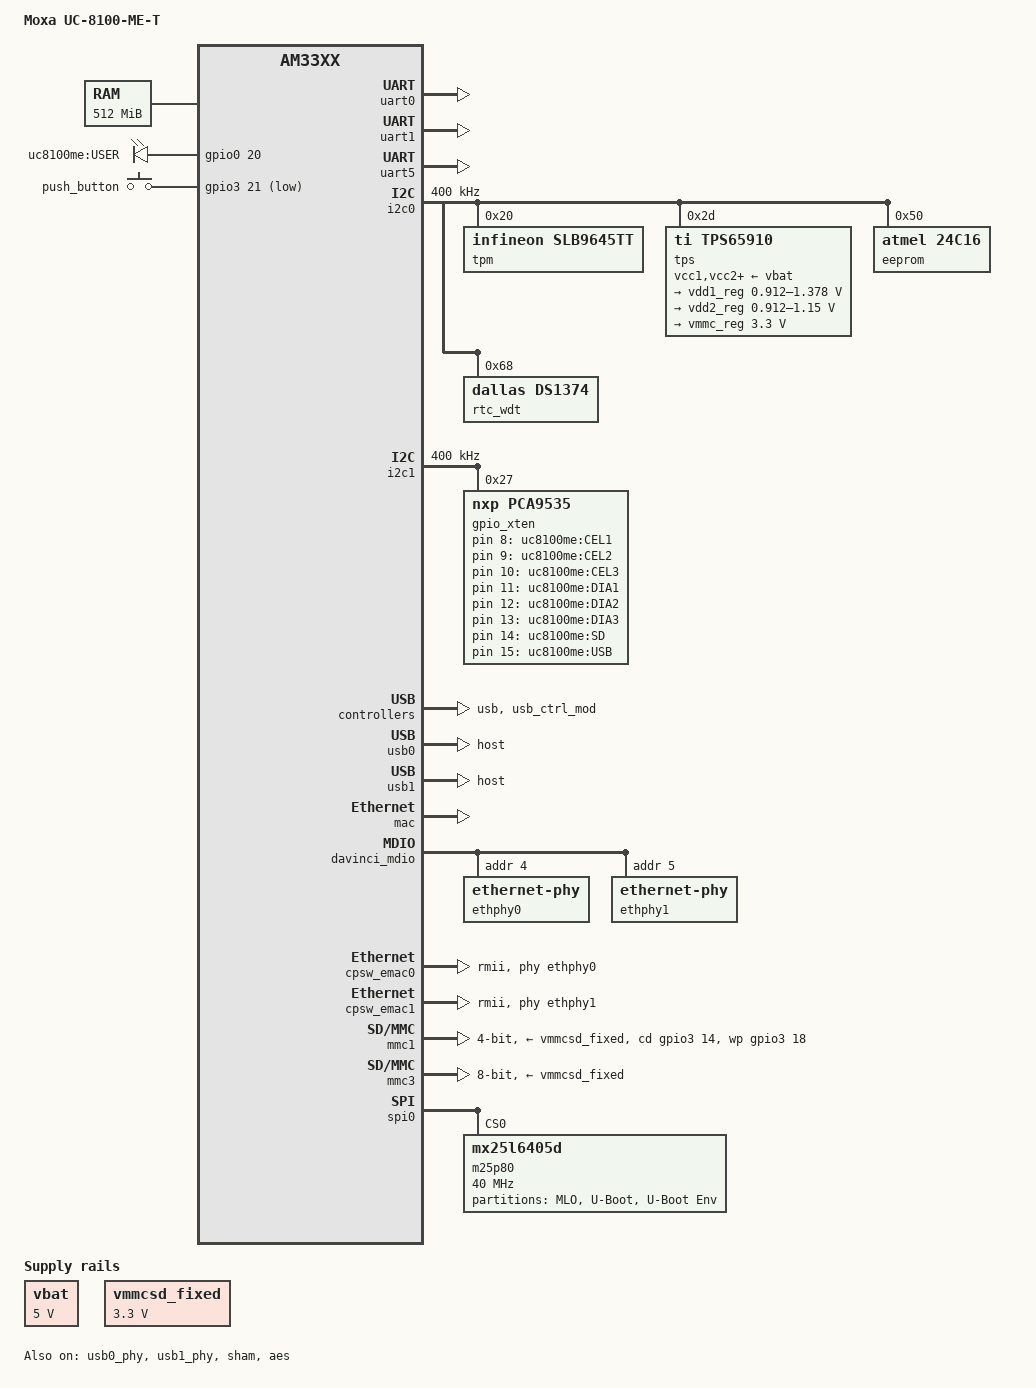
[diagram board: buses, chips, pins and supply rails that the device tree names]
/*
 * Copyright (C) 2017 MOXA Inc. - https://www.moxa.com/
 *
 * Author: SZ Lin (林上智) <sz.lin@moxa.com>
 *
 * This program is free software; you can redistribute it and/or modify
 * it under the terms of the GNU General Public License version 2 as
 * published by the Free Software Foundation.
 */

/dts-v1/;

#include "am33xx.dtsi"

/ {
	model = "Moxa UC-8100-ME-T";
	compatible = "moxa,uc-8100-me-t", "ti,am33xx";

	cpus {
		cpu@0 {
			cpu0-supply = <&vdd1_reg>;
		};
	};

	memory {
		device_type = "memory";
		reg = <0x80000000 0x20000000>; /* 512 MB */
	};

	vbat: vbat-regulator {
		compatible = "regulator-fixed";
	};

	/* Power supply provides a fixed 3.3V @3A */
	vmmcsd_fixed: vmmcsd-regulator {
	      compatible = "regulator-fixed";
	      regulator-name = "vmmcsd_fixed";
	      regulator-min-microvolt = <3300000>;
	      regulator-max-microvolt = <3300000>;
	      regulator-boot-on;
	};

	leds {
		compatible = "gpio-leds";
		led1 {
			label = "uc8100me:CEL1";
			gpios = <&gpio_xten 8 0>;
			default-state = "off";
		};

		led2 {
			label = "uc8100me:CEL2";
			gpios = <&gpio_xten 9 0>;
			default-state = "off";
		};

		led3 {
			label = "uc8100me:CEL3";
			gpios = <&gpio_xten 10 0>;
			default-state = "off";
		};

		led4 {
			label = "uc8100me:DIA1";
			gpios = <&gpio_xten 11 0>;
			default-state = "off";
		};
		led5 {
			label = "uc8100me:DIA2";
			gpios = <&gpio_xten 12 0>;
			default-state = "off";
		};
		led6 {
			label = "uc8100me:DIA3";
			gpios = <&gpio_xten 13 0>;
			default-state = "off";
		};
		led7 {
			label = "uc8100me:SD";
			gpios = <&gpio_xten 14 0>;
			default-state = "off";
		};
		led8 {
			label = "uc8100me:USB";
			gpios = <&gpio_xten 15 0>;
			default-state = "off";
		};
		led9 {
			label = "uc8100me:USER";
			gpios = <&gpio0 20 GPIO_ACTIVE_HIGH>;
			default-state = "off";
		};
	};

	buttons: push_button {
		compatible = "gpio-keys";
	};

};

&am33xx_pinmux {
	pinctrl-names = "default";
	pinctrl-0 = <&minipcie_pins>;

	minipcie_pins: pinmux_minipcie {
		pinctrl-single,pins = <
			AM33XX_PADCONF(AM335X_PIN_LCD_PCLK, PIN_INPUT_PULLDOWN, MUX_MODE7)	/* lcd_pclk.gpio2_24 */
			AM33XX_PADCONF(AM335X_PIN_LCD_AC_BIAS_EN, PIN_INPUT_PULLDOWN, MUX_MODE7)	/* lcd_ac_bias_en.gpio2_25 */
			AM33XX_PADCONF(AM335X_PIN_LCD_VSYNC, PIN_INPUT_PULLDOWN, MUX_MODE7)	/* lcd_vsync.gpio2_22  Power off PIN*/
		>;
	};

	push_button_pins: pinmux_push_button {
		pinctrl-single,pins = <
			AM33XX_PADCONF(AM335X_PIN_MCASP0_AHCLKX, PIN_INPUT_PULLDOWN, MUX_MODE7)	/* mcasp0_ahcklx.gpio3_21 */
		>;
	};

	i2c0_pins: pinmux_i2c0_pins {
		pinctrl-single,pins = <
			AM33XX_PADCONF(AM335X_PIN_I2C0_SDA, PIN_INPUT_PULLUP, MUX_MODE0)
			AM33XX_PADCONF(AM335X_PIN_I2C0_SCL, PIN_INPUT_PULLUP, MUX_MODE0)
		>;
	};


	i2c1_pins: pinmux_i2c1_pins {
		pinctrl-single,pins = <
			AM33XX_PADCONF(AM335X_PIN_UART0_CTSN, PIN_INPUT_PULLUP, MUX_MODE3)	/* uart0_ctsn.i2c1_sda */
			AM33XX_PADCONF(AM335X_PIN_UART0_RTSN, PIN_INPUT_PULLUP, MUX_MODE3)	/* uart0_rtsn.i2c1_scl */
		>;
	};

	uart0_pins: pinmux_uart0_pins {
		pinctrl-single,pins = <
			AM33XX_PADCONF(AM335X_PIN_UART0_RXD, PIN_INPUT_PULLUP, MUX_MODE0)
			AM33XX_PADCONF(AM335X_PIN_UART0_TXD, PIN_OUTPUT_PULLDOWN, MUX_MODE0)
		>;
	};

	uart1_pins: pinmux_uart1_pins {
		pinctrl-single,pins = <
			AM33XX_PADCONF(AM335X_PIN_UART1_CTSN, PIN_INPUT, MUX_MODE0)
			AM33XX_PADCONF(AM335X_PIN_UART1_RTSN, PIN_OUTPUT_PULLDOWN, MUX_MODE0)
			AM33XX_PADCONF(AM335X_PIN_UART1_RXD, PIN_INPUT_PULLUP, MUX_MODE0)
			AM33XX_PADCONF(AM335X_PIN_UART1_TXD, PIN_OUTPUT, MUX_MODE0)
		>;
	};

	uart2_pins: pinmux_uart2_pins {
		pinctrl-single,pins = <
			AM33XX_PADCONF(AM335X_PIN_LCD_DATA14, PIN_INPUT, MUX_MODE6)		/* lcd_data14.uart5_ctsn */
			AM33XX_PADCONF(AM335X_PIN_LCD_DATA15, PIN_OUTPUT_PULLDOWN, MUX_MODE6)  /* lcd_data15.uart5_rtsn */
			AM33XX_PADCONF(AM335X_PIN_LCD_DATA9, PIN_INPUT_PULLUP, MUX_MODE4)     /* lcd_data9.uart5_rxd */
			AM33XX_PADCONF(AM335X_PIN_LCD_DATA8, PIN_OUTPUT, MUX_MODE4)		/* lcd_data8.uart5_txd */
		>;
	};

	cpsw_default: cpsw_default {
		pinctrl-single,pins = <
			/* Slave 1 */
			AM33XX_PADCONF(AM335X_PIN_MII1_CRS, PIN_INPUT_PULLDOWN, MUX_MODE1)
			AM33XX_PADCONF(AM335X_PIN_MII1_RX_ER, PIN_INPUT_PULLUP, MUX_MODE1)
			AM33XX_PADCONF(AM335X_PIN_MII1_TX_EN, PIN_OUTPUT_PULLDOWN, MUX_MODE1)
			AM33XX_PADCONF(AM335X_PIN_MII1_TXD1, PIN_OUTPUT_PULLDOWN, MUX_MODE1)
			AM33XX_PADCONF(AM335X_PIN_MII1_TXD0, PIN_OUTPUT_PULLDOWN, MUX_MODE1)
			AM33XX_PADCONF(AM335X_PIN_MII1_RXD1, PIN_INPUT_PULLUP, MUX_MODE1)
			AM33XX_PADCONF(AM335X_PIN_MII1_RXD0, PIN_INPUT_PULLUP, MUX_MODE1)
			AM33XX_PADCONF(AM335X_PIN_RMII1_REF_CLK, PIN_INPUT_PULLDOWN, MUX_MODE0)

			/* Slave 2 */
			AM33XX_PADCONF(AM335X_PIN_GPMC_WAIT0, PIN_INPUT_PULLDOWN, MUX_MODE3)   /* rmii2_crs_dv */
			AM33XX_PADCONF(AM335X_PIN_GPMC_WPN, PIN_INPUT_PULLDOWN, MUX_MODE3)   /* rmii2_rxer */
			AM33XX_PADCONF(AM335X_PIN_GPMC_A0, PIN_OUTPUT_PULLDOWN, MUX_MODE3)  /* rmii2_txen */
			AM33XX_PADCONF(AM335X_PIN_GPMC_A4, PIN_OUTPUT_PULLDOWN, MUX_MODE3)  /* rmii2_td1 */
			AM33XX_PADCONF(AM335X_PIN_GPMC_A5, PIN_OUTPUT_PULLDOWN, MUX_MODE3)  /* rmii2_td0 */
			AM33XX_PADCONF(AM335X_PIN_GPMC_A10, PIN_INPUT_PULLDOWN, MUX_MODE3)   /* rmii2_rd1 */
			AM33XX_PADCONF(AM335X_PIN_GPMC_A11, PIN_INPUT_PULLDOWN, MUX_MODE3)   /* rmii2_rd0 */
			AM33XX_PADCONF(AM335X_PIN_MII1_COL, PIN_INPUT_PULLDOWN, MUX_MODE1)  /* rmii2_refclk */

		>;
	};

	davinci_mdio_default: davinci_mdio_default {
		pinctrl-single,pins = <
			/* MDIO */
			AM33XX_PADCONF(AM335X_PIN_MDIO, PIN_INPUT_PULLUP | SLEWCTRL_FAST, MUX_MODE0)
			AM33XX_PADCONF(AM335X_PIN_MDC, PIN_OUTPUT_PULLUP, MUX_MODE0)
		>;
	};

	mmc0_pins_default: pinmux_mmc0_pins {
		pinctrl-single,pins = <
			AM33XX_PADCONF(AM335X_PIN_MMC0_DAT3, PIN_INPUT_PULLUP, MUX_MODE0)
			AM33XX_PADCONF(AM335X_PIN_MMC0_DAT2, PIN_INPUT_PULLUP, MUX_MODE0)
			AM33XX_PADCONF(AM335X_PIN_MMC0_DAT1, PIN_INPUT_PULLUP, MUX_MODE0)
			AM33XX_PADCONF(AM335X_PIN_MMC0_DAT0, PIN_INPUT_PULLUP, MUX_MODE0)
			AM33XX_PADCONF(AM335X_PIN_MMC0_CLK, PIN_INPUT_PULLUP, MUX_MODE0)
			AM33XX_PADCONF(AM335X_PIN_MMC0_CMD, PIN_INPUT_PULLUP, MUX_MODE0)
			AM33XX_PADCONF(AM335X_PIN_MCASP0_ACLKX, PIN_INPUT_PULLUP, MUX_MODE7)	/* mcasp0_aclkx.gpio3_14 */
			AM33XX_PADCONF(AM335X_PIN_MCASP0_ACLKR, PIN_INPUT_PULLUP, MUX_MODE7)    /* mcasp0_aclkx.gpio3_18 */
		>;
	};

	mmc2_pins_default: pinmux_mmc2_pins {
		pinctrl-single,pins = <
			/* eMMC */
			AM33XX_PADCONF(AM335X_PIN_GPMC_AD12, PIN_INPUT_PULLUP, MUX_MODE3)	/* gpmc_ad12.mmc2_dat0 */
			AM33XX_PADCONF(AM335X_PIN_GPMC_AD13, PIN_INPUT_PULLUP, MUX_MODE3)	/* gpmc_ad13.mmc2_dat1 */
			AM33XX_PADCONF(AM335X_PIN_GPMC_AD14, PIN_INPUT_PULLUP, MUX_MODE3)	/* gpmc_ad14.mmc2_dat2 */
			AM33XX_PADCONF(AM335X_PIN_GPMC_AD15, PIN_INPUT_PULLUP, MUX_MODE3)	/* gpmc_ad15.mmc2_dat3 */
			AM33XX_PADCONF(AM335X_PIN_GPMC_AD8, PIN_INPUT_PULLUP, MUX_MODE3)	/* gpmc_ad8.mmc2_dat4 */
			AM33XX_PADCONF(AM335X_PIN_GPMC_AD9, PIN_INPUT_PULLUP, MUX_MODE3)	/* gpmc_ad9.mmc2_dat5 */
			AM33XX_PADCONF(AM335X_PIN_GPMC_AD10, PIN_INPUT_PULLUP, MUX_MODE3)	/* gpmc_ad10.mmc2_dat6 */
			AM33XX_PADCONF(AM335X_PIN_GPMC_AD11, PIN_INPUT_PULLUP, MUX_MODE3)	/* gpmc_ad11.mmc2_dat7 */
			AM33XX_PADCONF(AM335X_PIN_GPMC_CSN3, PIN_INPUT_PULLUP, MUX_MODE3)     /* gpmc_csn3.mmc2_cmd */
			AM33XX_PADCONF(AM335X_PIN_GPMC_CLK, PIN_INPUT_PULLUP, MUX_MODE3)	/* gpmc_clk.mmc2_clk */
		>;
	};

	spi0_pins: pinmux_spi0 {
		pinctrl-single,pins = <
			AM33XX_PADCONF(AM335X_PIN_SPI0_SCLK, PIN_INPUT_PULLUP, MUX_MODE0)
			AM33XX_PADCONF(AM335X_PIN_SPI0_CS0, PIN_INPUT_PULLUP, MUX_MODE0)
			AM33XX_PADCONF(AM335X_PIN_SPI0_D0, PIN_INPUT_PULLUP, MUX_MODE0)
			AM33XX_PADCONF(AM335X_PIN_SPI0_D1, PIN_INPUT_PULLUP, MUX_MODE0)
		>;
	};

};

&uart0 {
	/* Console */
	status = "okay";
	pinctrl-names = "default";
	pinctrl-0 = <&uart0_pins>;
};

&uart1 {
	/* UART 1 setting */
	status = "okay";
	pinctrl-names = "default";
	pinctrl-0 = <&uart1_pins>;
};

&uart5 {
	/* UART 2 setting */
	status = "okay";
	pinctrl-names = "default";
	pinctrl-0 = <&uart2_pins>;
};

&i2c0 {
	pinctrl-names = "default";
	pinctrl-0 = <&i2c0_pins>;

	status = "okay";
	clock-frequency = <400000>;

	tpm: tpm@20 {
		compatible = "infineon,slb9645tt";
		reg = <0x20>;
	};

	tps: tps@2d {
		compatible = "ti,tps65910";
		reg = <0x2d>;
	};

	eeprom: eeprom@50 {
		compatible = "atmel,24c16";
		pagesize = <16>;
		reg = <0x50>;
	};

	rtc_wdt: rtc_wdt@68 {
		compatible = "dallas,ds1374";
		reg = <0x68>;
	};
};

&i2c1 {
	pinctrl-names = "default";
	pinctrl-0 = <&i2c1_pins>;

	status = "okay";
	clock-frequency = <400000>;
	gpio_xten: gpio_xten@27 {
		compatible = "nxp,pca9535";
		gpio-controller;
		#gpio-cells = <2>;
		reg = <0x27>;
	};
};

&usb {
	status = "okay";
};

&usb_ctrl_mod {
	status = "okay";
};

&usb0_phy {
	status = "okay";
};

&usb1_phy {
	status = "okay";
};

&usb0 {
	status = "okay";
	dr_mode = "host";
};

&usb1 {
	status = "okay";
	dr_mode = "host";
};

&cppi41dma  {
	status = "okay";
};

#include "tps65910.dtsi"

&tps {
	vcc1-supply = <&vbat>;
	vcc2-supply = <&vbat>;
	vcc3-supply = <&vbat>;
	vcc4-supply = <&vbat>;
	vcc5-supply = <&vbat>;
	vcc6-supply = <&vbat>;
	vcc7-supply = <&vbat>;
	vccio-supply = <&vbat>;

	regulators {
		vrtc_reg: regulator@0 {
			regulator-always-on;
		};

		vio_reg: regulator@1 {
			regulator-always-on;
		};

		vdd1_reg: regulator@2 {
			/* VDD_MPU voltage limits 0.95V - 1.26V with +/-4% tolerance */
			regulator-name = "vdd_mpu";
			regulator-min-microvolt = <912500>;
			regulator-max-microvolt = <1378000>;
			regulator-boot-on;
			regulator-always-on;
		};

		vdd2_reg: regulator@3 {
			/* VDD_CORE voltage limits 0.95V - 1.1V with +/-4% tolerance */
			regulator-name = "vdd_core";
			regulator-min-microvolt = <912500>;
			regulator-max-microvolt = <1150000>;
			regulator-boot-on;
			regulator-always-on;
		};

		vdd3_reg: regulator@4 {
			regulator-always-on;
		};

		vdig1_reg: regulator@5 {
			regulator-always-on;
		};

		vdig2_reg: regulator@6 {
			regulator-always-on;
		};

		vpll_reg: regulator@7 {
			regulator-always-on;
		};

		vdac_reg: regulator@8 {
			regulator-always-on;
		};

		vaux1_reg: regulator@9 {
			regulator-always-on;
		};

		vaux2_reg: regulator@10 {
			regulator-always-on;
		};

		vaux33_reg: regulator@11 {
			regulator-always-on;
		};

		vmmc_reg: regulator@12 {
			compatible = "regulator-fixed";
			regulator-name = "vmmc_reg";
			regulator-min-microvolt = <3300000>;
			regulator-max-microvolt = <3300000>;
			regulator-always-on;
		};
	};
};

/* Power */
&vbat {
	regulator-name = "vbat";
	regulator-min-microvolt = <5000000>;
	regulator-max-microvolt = <5000000>;
};

&mac {
	pinctrl-names = "default";
	pinctrl-0 = <&cpsw_default>;
	dual_emac = <1>;
	status = "okay";
};

&davinci_mdio {
	pinctrl-names = "default";
	pinctrl-0 = <&davinci_mdio_default>;
	status = "okay";

	ethphy0: ethernet-phy@4 {
		reg = <4>;
	};

	ethphy1: ethernet-phy@5 {
		reg = <5>;
	};
};

&cpsw_emac0 {
	status = "okay";
	phy-handle = <&ethphy0>;
	phy-mode = "rmii";
	dual_emac_res_vlan = <1>;
};

&cpsw_emac1 {
	status = "okay";
	phy-handle = <&ethphy1>;
	phy-mode = "rmii";
	dual_emac_res_vlan = <2>;
};

&sham {
	status = "okay";
};

&aes {
	status = "okay";
};

&gpio0 {
	ti,no-reset-on-init;
};

&mmc1 {
	pinctrl-names = "default";
	vmmc-supply = <&vmmcsd_fixed>;
	bus-width = <4>;
	pinctrl-0 = <&mmc0_pins_default>;
	cd-gpios = <&gpio3 14 GPIO_ACTIVE_HIGH>;
	wp-gpios = <&gpio3 18 GPIO_ACTIVE_HIGH>;
	status = "okay";
};

&mmc3 {
	dmas = <&edma_xbar 12 0 1
			&edma_xbar 13 0 2>;
	dma-names = "tx", "rx";
	pinctrl-names = "default";
	vmmc-supply = <&vmmcsd_fixed>;
	bus-width = <8>;
	pinctrl-0 = <&mmc2_pins_default>;
	ti,non-removable;
	status = "okay";
};

&buttons {
	pinctrl-names = "default";
	pinctrl-0 = <&push_button_pins>;
	#address-cells = <1>;
	#size-cells = <0>;

	button@0 {
		label = "push_button";
		linux,code = <0x100>;
		gpios = <&gpio3 21 GPIO_ACTIVE_LOW>;
	};
};

/* SPI Busses */
&spi0 {
	status = "okay";
	pinctrl-names = "default";
	pinctrl-0 = <&spi0_pins>;

	m25p80@0 {
		compatible = "mx25l6405d";
		spi-max-frequency = <40000000>;

		reg = <0>;
		spi-cpol;
		spi-cpha;
		#address-cells = <1>;
		#size-cells = <1>;

		/* reg : The partition's offset and size within the mtd bank. */
		partitions@0 {
			label = "MLO";
			reg = <0x0 0x80000>;
		};

		partitions@1 {
			label = "U-Boot";
			reg = <0x80000 0x100000>;
		};

		partitions@2 {
			label = "U-Boot Env";
			reg = <0x180000 0x20000>;
		};
	};
};
